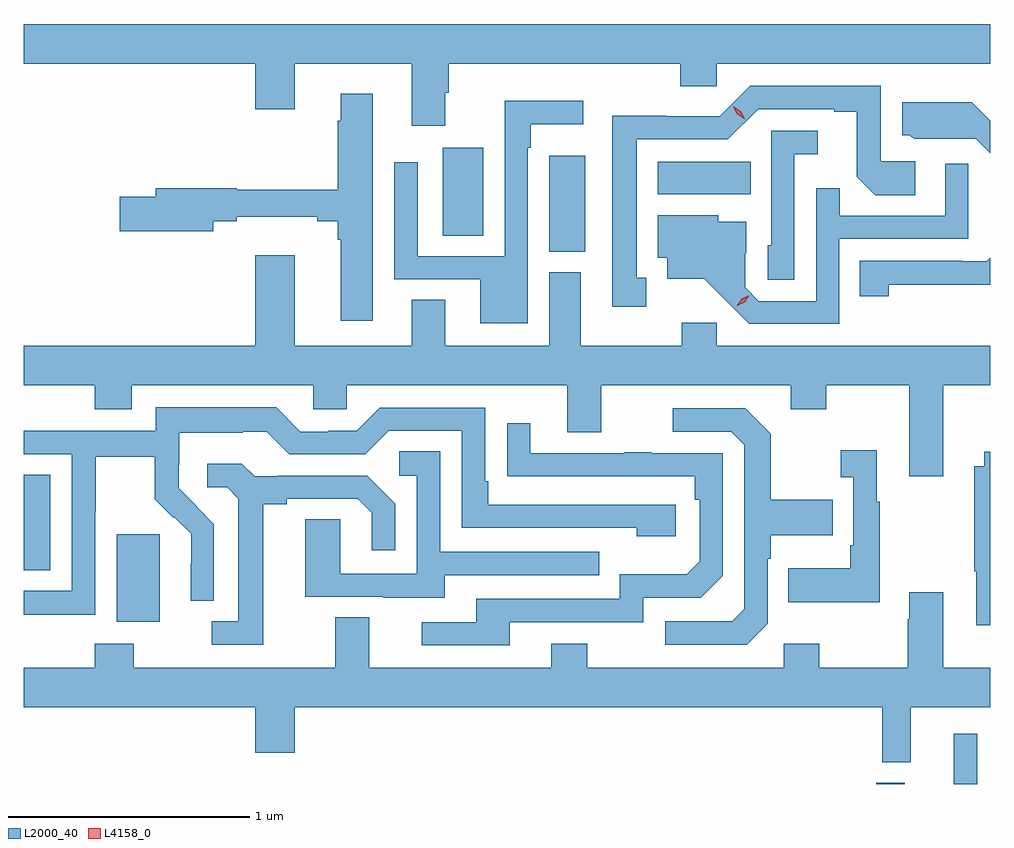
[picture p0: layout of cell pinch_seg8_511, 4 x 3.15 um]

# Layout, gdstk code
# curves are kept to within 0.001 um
import gdstk
lib = gdstk.Library(unit=1e-6, precision=1e-09)
def R(c, l, rs):  # rectangles x0, y0, x1, y1
    for r in rs: c.add(gdstk.rectangle(r[:2], r[2:], *l))
def P(c, l, *ps):  # polygons
    for p in ps: c.add(gdstk.Polygon(p, *l))
L2000_40 = (2000, 40)
L4158_0 = (4158, 0)

pinch_seg8_511 = lib.new_cell('pinch_seg8_511')
R(pinch_seg8_511, L2000_40, [(191.556,1101.53,191.674,1101.535), (191.877,1101.53,191.974,1101.739), (188.411,1102.202,188.59,1102.563), (188.027,1102.414,188.137,1102.811), (190.202,1103.734,190.351,1104.13), (189.761,1103.8,189.928,1104.163), (190.652,1103.972,191.036,1104.106)])
P(pinch_seg8_511, L2000_40, [(189.772,1104.392),(189.785,1104.392),(189.785,1104.512),(190.745,1104.512),(190.745,1104.419),(190.896,1104.419),(190.896,1104.512),(192.027,1104.512),(192.027,1104.676),(188.027,1104.676),(188.027,1104.512),(188.984,1104.512),(188.984,1104.324),(189.148,1104.324),(189.148,1104.512),(189.632,1104.512),(189.632,1104.255),(189.772,1104.255)],
  [(190.603,1103.625),(190.564,1103.625),(190.564,1104.198),(190.941,1104.198),(191.067,1104.324),(191.381,1104.324),(191.381,1104.312),(191.475,1104.312),(191.475,1104.044),(191.551,1103.968),(191.716,1103.968),(191.716,1104.108),(191.574,1104.108),(191.574,1104.42),(191.034,1104.42),(190.908,1104.294),(190.686,1104.294),(190.686,1104.296),(190.463,1104.296),(190.463,1103.505),(190.603,1103.505)],
  [(189.472,1104.388),(189.338,1104.388),(189.338,1104.275),(189.326,1104.275),(189.326,1103.989),(188.908,1103.989),(188.908,1103.996),(188.573,1103.996),(188.573,1103.96),(188.424,1103.96),(188.424,1103.818),(188.812,1103.818),(188.812,1103.86),(188.908,1103.86),(188.908,1103.879),(189.242,1103.879),(189.242,1103.86),(189.326,1103.86),(189.326,1103.783),(189.338,1103.783),(189.338,1103.448),(189.472,1103.448)],
  [(190.113,1104.164),(190.126,1104.164),(190.126,1104.26),(190.342,1104.26),(190.342,1104.358),(190.017,1104.358),(190.017,1103.715),(189.657,1103.715),(189.657,1104.103),(189.561,1104.103),(189.561,1103.619),(189.917,1103.619),(189.917,1103.438),(190.113,1103.438)],
  [(192.027,1104.275),(191.951,1104.352),(191.663,1104.352),(191.663,1104.216),(191.694,1104.216),(191.71,1104.2),(191.844,1104.2),(191.844,1104.201),(191.967,1104.201),(192.027,1104.141)],
  [(191.217,1104.137),(191.314,1104.137),(191.314,1104.234),(191.121,1104.234),(191.121,1103.76),(191.106,1103.76),(191.106,1103.617),(191.217,1103.617)],
  [(191.403,1103.787),(191.937,1103.787),(191.937,1104.097),(191.841,1104.097),(191.841,1103.883),(191.405,1103.883),(191.405,1103.996),(191.307,1103.996),(191.307,1103.529),(191.07,1103.529),(191.013,1103.586),(191.013,1103.728),(191.017,1103.728),(191.017,1103.857),(190.902,1103.857),(190.902,1103.884),(190.652,1103.884),(190.652,1103.708),(190.691,1103.708),(190.691,1103.621),(190.843,1103.621),(191.03,1103.436),(191.403,1103.436)],
  [(191.833,1103.18),(192.027,1103.18),(192.027,1103.344),(190.896,1103.344),(190.896,1103.44),(190.75,1103.44),(190.75,1103.344),(190.333,1103.344),(190.333,1103.649),(190.202,1103.649),(190.202,1103.344),(189.772,1103.344),(189.772,1103.534),(189.632,1103.534),(189.632,1103.344),(189.148,1103.344),(189.148,1103.719),(188.984,1103.719),(188.984,1103.344),(188.027,1103.344),(188.027,1103.18),(188.321,1103.18),(188.321,1103.081),(188.473,1103.081),(188.473,1103.18),(189.225,1103.18),(189.225,1103.082),(189.363,1103.082),(189.363,1103.18),(190.277,1103.18),(190.277,1102.986),(190.417,1102.986),(190.417,1103.18),(191.201,1103.18),(191.201,1103.081),(191.349,1103.081),(191.349,1103.18),(191.693,1103.18),(191.693,1102.803),(191.833,1102.803)],
  [(191.607,1103.596),(191.963,1103.596),(191.963,1103.597),(192.027,1103.597),(192.027,1103.709),(192.012,1103.694),(191.912,1103.694),(191.912,1103.697),(191.488,1103.697),(191.488,1103.55),(191.607,1103.55)],
  [(188.322,1102.66),(188.325,1102.66),(188.325,1102.884),(188.569,1102.884),(188.569,1102.709),(188.646,1102.632),(188.649,1102.635),(188.72,1102.565),(188.72,1102.442),(188.718,1102.442),(188.718,1102.288),(188.814,1102.288),(188.814,1102.606),(188.668,1102.754),(188.668,1102.851),(188.67,1102.851),(188.67,1102.985),(188.933,1102.985),(188.933,1102.989),(189.033,1102.989),(189.126,1102.896),(189.441,1102.896),(189.537,1102.992),(189.84,1102.992),(189.84,1102.59),(190.565,1102.59),(190.565,1102.556),(190.726,1102.556),(190.726,1102.686),(189.949,1102.686),(189.949,1102.783),(189.936,1102.783),(189.936,1103.088),(189.501,1103.088),(189.405,1102.992),(189.287,1102.992),(189.287,1102.989),(189.171,1102.989),(189.071,1103.089),(188.574,1103.089),(188.574,1102.992),(188.027,1102.992),(188.027,1102.896),(188.226,1102.896),(188.226,1102.329),(188.027,1102.329),(188.027,1102.231),(188.322,1102.231)],
  [(191.106,1102.194),(191.106,1102.463),(191.119,1102.463),(191.119,1102.559),(191.375,1102.559),(191.375,1102.707),(191.119,1102.707),(191.119,1102.979),(191.013,1103.085),(190.713,1103.085),(190.713,1102.989),(190.956,1102.989),(191.01,1102.935),(191.01,1102.254),(190.959,1102.203),(190.683,1102.203),(190.683,1102.107),(191.019,1102.107)],
  [(190.039,1102.2),(190.59,1102.2),(190.59,1102.302),(190.83,1102.302),(190.92,1102.392),(190.92,1102.899),(190.625,1102.899),(190.625,1102.904),(190.513,1102.904),(190.513,1102.899),(190.123,1102.899),(190.123,1103.023),(190.027,1103.023),(190.027,1102.804),(190.804,1102.803),(190.804,1102.706),(190.824,1102.706),(190.824,1102.452),(190.771,1102.399),(190.494,1102.399),(190.494,1102.296),(189.899,1102.296),(189.899,1102.2),(189.675,1102.2),(189.675,1102.104),(190.039,1102.104)],
  [(191.569,1102.699),(191.557,1102.699),(191.557,1102.912),(191.409,1102.912),(191.409,1102.799),(191.46,1102.799),(191.46,1102.519),(191.448,1102.519),(191.448,1102.423),(191.191,1102.423),(191.191,1102.283),(191.569,1102.283)],
  [(189.769,1102.395),(190.409,1102.395),(190.409,1102.491),(189.75,1102.491),(189.75,1102.907),(189.582,1102.907),(189.582,1102.806),(189.654,1102.806),(189.654,1102.401),(189.336,1102.401),(189.336,1102.625),(189.191,1102.625),(189.191,1102.305),(189.515,1102.305),(189.515,1102.301),(189.769,1102.301)],
  [(192.027,1102.906),(192.002,1102.906),(192.002,1102.846),(191.962,1102.846),(191.962,1102.411),(191.969,1102.411),(191.969,1102.188),(192.027,1102.188)],
  [(189.019,1102.688),(189.115,1102.688),(189.115,1102.71),(189.41,1102.71),(189.467,1102.653),(189.467,1102.497),(189.564,1102.497),(189.564,1102.69),(189.448,1102.806),(189.076,1102.806),(189.076,1102.803),(188.982,1102.803),(188.93,1102.855),(188.787,1102.855),(188.787,1102.758),(188.868,1102.758),(188.915,1102.711),(188.915,1102.203),(188.805,1102.203),(188.805,1102.107),(189.019,1102.107)],
  [(191.699,1101.848),(192.027,1101.848),(192.027,1102.012),(191.833,1102.012),(191.833,1102.324),(191.693,1102.324),(191.693,1102.211),(191.686,1102.211),(191.686,1102.012),(191.319,1102.012),(191.319,1102.111),(191.172,1102.111),(191.172,1102.012),(190.359,1102.012),(190.359,1102.111),(190.211,1102.111),(190.211,1102.012),(189.457,1102.012),(189.457,1102.22),(189.317,1102.22),(189.317,1102.012),(188.481,1102.012),(188.481,1102.111),(188.321,1102.111),(188.321,1102.012),(188.027,1102.012),(188.027,1101.848),(188.984,1101.848),(188.984,1101.66),(189.148,1101.66),(189.148,1101.848),(191.581,1101.848),(191.581,1101.62),(191.699,1101.62)])
P(pinch_seg8_511, L4158_0, [(190.979,1103.509),(190.979,1103.51),(190.998,1103.539),(191.029,1103.554),(191.029,1103.554),(191.029,1103.554),(191.011,1103.524),(190.98,1103.509)],
  [(191.012,1104.282),(190.98,1104.302),(190.963,1104.334),(190.963,1104.335),(190.963,1104.335),(190.995,1104.315),(191.012,1104.283),(191.012,1104.282)])

lib.write_gds('pinch_seg8_511.gds')
